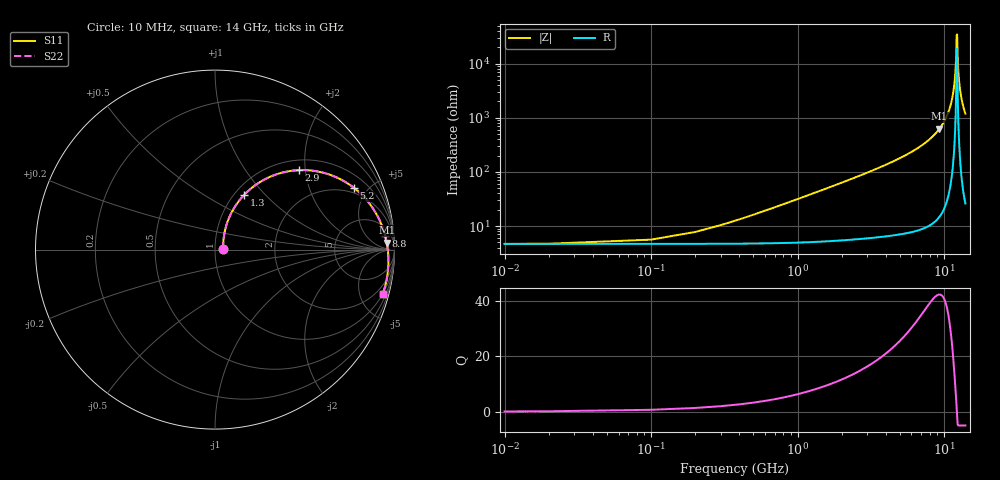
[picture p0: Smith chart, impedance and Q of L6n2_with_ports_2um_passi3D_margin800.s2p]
#  GHZ S DB R 50.0
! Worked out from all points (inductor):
!   142 points, 10 MHz to 14 GHz, reference 50 ohm
!   read as one part in series: L = 4.93 nH near 500 MHz
!   highest Q = 42.3 at 9.3 GHz (marker M1), where L = 10.7 nH
!   self-resonance near 12.2 GHz
!   S11 on the Smith chart (normalised r, x): 10 MHz: 1.09, +0.01; 1.3 GHz: 1.11, +0.77; 2.9 GHz: 1.22, +1.84; 5.2 GHz: 1.67, +4.08; 8.8 GHz: 12, +18; 14 GHz: 0.98, -7.52
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0.01  -26.97 3.4  -0.40 -0.2  -0.40 -0.2  -26.97 3.4
0.6  -15.40 65.8  -0.58 -10.7  -0.58 -10.7  -15.40 65.8
1.3  -9.18 61.9  -1.10 -22.1  -1.10 -22.1  -9.18 61.9
2.4  -4.91 49.0  -2.37 -37.6  -2.37 -37.6  -4.91 49.0
2.9  -3.83 43.5  -3.07 -43.5  -3.07 -43.5  -3.83 43.5
4.7  -1.75 27.5  -5.96 -60.5  -5.96 -60.5  -1.75 27.5
5.2  -1.44 23.9  -6.84 -64.3  -6.84 -64.3  -1.44 23.9
7.1  -0.72 12.6  -10.53 -76.0  -10.53 -76.0  -0.72 12.6
8.8  -0.43 4.5  -14.70 -84.2  -14.70 -84.2  -0.43 4.5
9.3  -0.38 2.3  -16.24 -86.3  -16.24 -86.3  -0.38 2.3
9.4  -0.37 1.9  -16.57 -86.7  -16.57 -86.7  -0.37 1.9
10.9  -0.28 -4.0  -23.51 -92.2  -23.51 -92.2  -0.28 -4.0
11.7  -0.26 -6.9  -31.49 -93.2  -31.49 -93.2  -0.26 -6.9
12  -0.26 -8.0  -38.34 -90.4  -38.34 -90.4  -0.26 -8.0
12.1  -0.26 -8.4  -42.66 -86.0  -42.66 -86.0  -0.26 -8.4
12.2  -0.26 -8.7  -50.85 -66.0  -50.85 -66.0  -0.26 -8.7
12.3  -0.26 -9.1  -51.07 47.9  -51.07 47.9  -0.26 -9.1
12.4  -0.26 -9.4  -42.81 68.6  -42.81 68.6  -0.26 -9.4
12.5  -0.26 -9.8  -38.50 73.1  -38.50 73.1  -0.26 -9.8
12.8  -0.26 -10.8  -31.76 76.0  -31.76 76.0  -0.26 -10.8
13.3  -0.27 -12.5  -26.25 75.8  -26.25 75.8  -0.27 -12.5
14  -0.29 -14.9  -21.94 74.1  -21.94 74.1  -0.29 -14.9
